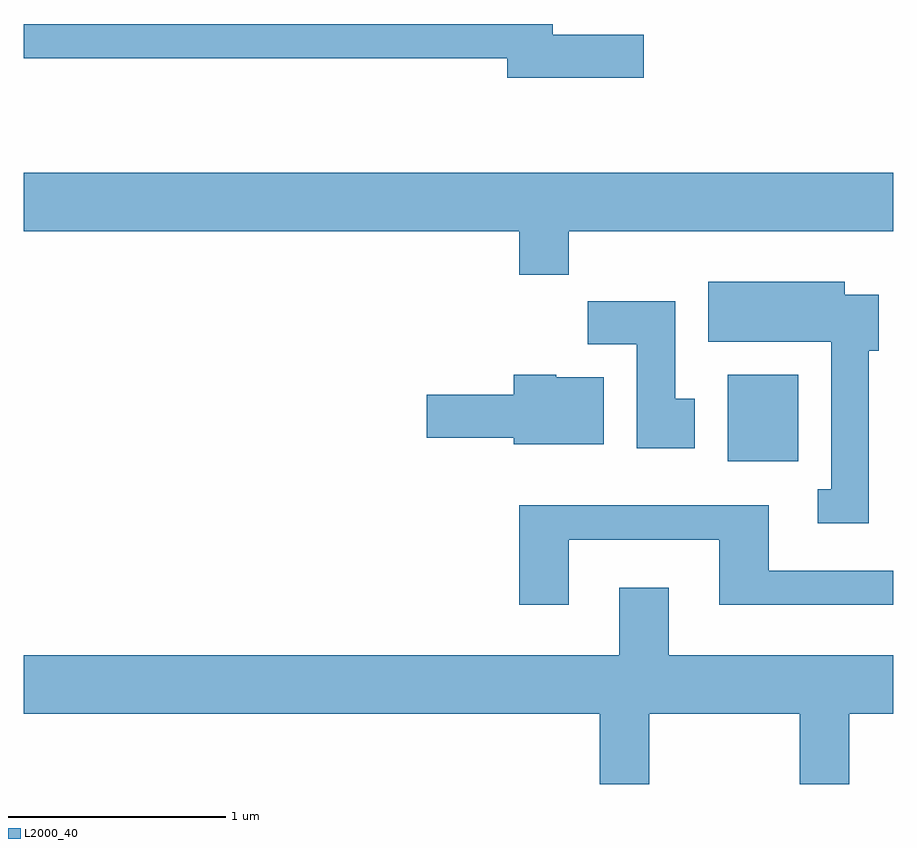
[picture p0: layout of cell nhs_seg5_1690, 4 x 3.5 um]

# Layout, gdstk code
import gdstk
lib = gdstk.Library(unit=1e-6, precision=1e-09)
def R(c, l, rs):  # rectangles x0, y0, x1, y1
    for r in rs: c.add(gdstk.rectangle(r[:2], r[2:], *l))
def P(c, l, *ps):  # polygons
    for p in ps: c.add(gdstk.Polygon(p, *l))
L2000_40 = (2000, 40)

nhs_seg5_1690 = lib.new_cell('nhs_seg5_1690')
R(nhs_seg5_1690, L2000_40, [(238.851,1413.556,239.174,1413.954)])
P(nhs_seg5_1690, L2000_40, [(238.464,1415.519),(238.044,1415.519),(238.044,1415.569),(235.611,1415.569),(235.611,1415.411),(237.836,1415.411),(237.836,1415.321),(238.464,1415.321)],
  [(238.119,1414.616),(239.611,1414.616),(239.611,1414.884),(235.611,1414.884),(235.611,1414.616),(237.891,1414.616),(237.891,1414.416),(238.119,1414.416)],
  [(239.499,1414.066),(239.544,1414.066),(239.544,1414.324),(239.389,1414.324),(239.389,1414.384),(238.761,1414.384),(238.761,1414.106),(239.326,1414.106),(239.326,1413.429),(239.263,1413.429),(239.263,1413.271),(239.499,1413.271)],
  [(238.699,1413.844),(238.609,1413.844),(238.609,1414.294),(238.206,1414.294),(238.206,1414.096),(238.431,1414.096),(238.431,1413.616),(238.699,1413.616)],
  [(238.279,1413.944),(238.06,1413.944),(238.06,1413.954),(237.866,1413.954),(237.866,1413.864),(237.466,1413.864),(237.466,1413.666),(237.866,1413.666),(237.866,1413.636),(238.279,1413.636)],
  [(238.119,1413.196),(238.811,1413.196),(238.811,1412.896),(239.611,1412.896),(239.611,1413.054),(239.039,1413.054),(239.039,1413.354),(237.891,1413.354),(237.891,1412.896),(238.119,1412.896)],
  [(238.489,1412.396),(239.181,1412.396),(239.181,1412.072),(239.409,1412.072),(239.409,1412.396),(239.611,1412.396),(239.611,1412.664),(238.579,1412.664),(238.579,1412.974),(238.351,1412.974),(238.351,1412.664),(235.611,1412.664),(235.611,1412.396),(238.261,1412.396),(238.261,1412.072),(238.489,1412.072)])

lib.write_gds('nhs_seg5_1690.gds')
